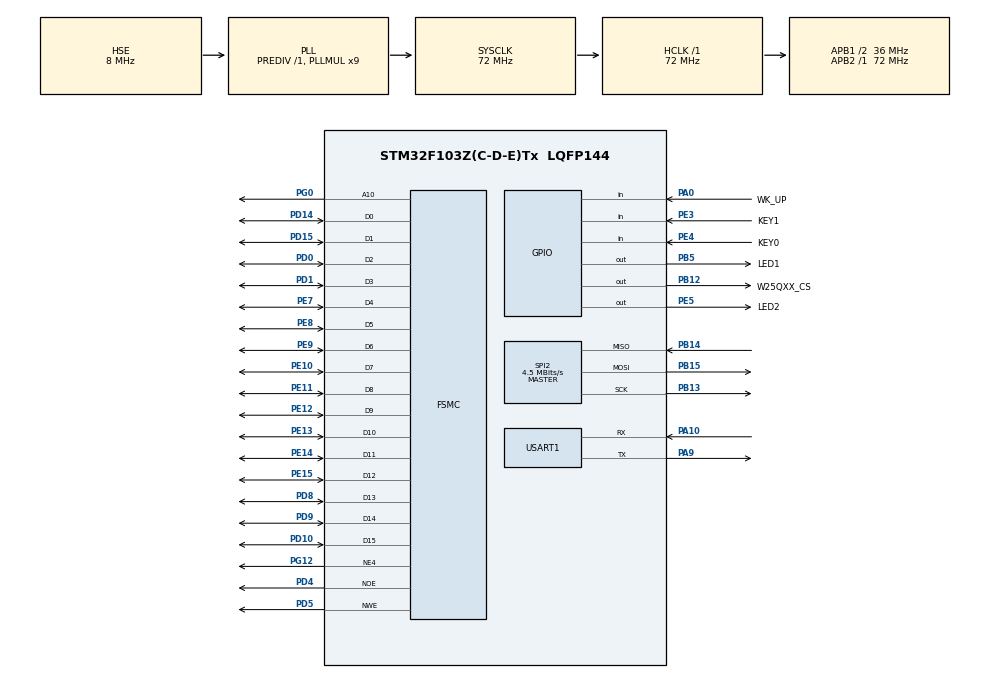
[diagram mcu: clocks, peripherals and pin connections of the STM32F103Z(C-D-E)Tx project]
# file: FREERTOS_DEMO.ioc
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FREERTOS.Tasks01=defaultTask,24,128,StartDefaultTask,Default,NULL,Dynamic,NULL,NULL
FSMC.AddressSetupTime4=6
FSMC.BusTurnAroundDuration4=0
FSMC.DataSetupTime4=26
FSMC.ExtendedAddressSetupTime4=3
FSMC.ExtendedBusTurnAroundDuration4=0
FSMC.ExtendedDataSetupTime4=6
FSMC.ExtendedMode4=FSMC_EXTENDED_MODE_ENABLE
Mcu.Family=STM32F1
Mcu.Name=STM32F103Z(C-D-E)Tx
Mcu.Package=LQFP144
NVIC.PriorityGroup=NVIC_PRIORITYGROUP_4
NVIC.RTC_Alarm_IRQn=true\:5\:0\:false\:false\:true\:true\:true\:true\:true
NVIC.RTC_IRQn=true\:5\:0\:false\:false\:true\:true\:true\:true\:true
NVIC.TIM6_IRQn=true\:15\:0\:false\:false\:true\:false\:false\:true\:true
NVIC.TimeBase=TIM6_IRQn
NVIC.TimeBaseIP=TIM6
NVIC.USART1_IRQn=true\:5\:0\:false\:false\:true\:true\:true\:true\:true
OSC_IN.Mode=HSE-External-Oscillator
OSC_IN.Signal=RCC_OSC_IN
OSC_OUT.Mode=HSE-External-Oscillator
OSC_OUT.Signal=RCC_OSC_OUT
PA0-WKUP.GPIO_Label=WK_UP
PA0-WKUP.GPIO_PuPd=GPIO_PULLDOWN
PA0-WKUP.Signal=GPIO_Input
PA10.Mode=Asynchronous
PA10.Signal=USART1_RX
PA13.Mode=Serial_Wire
PA13.Signal=SYS_JTMS-SWDIO
PA14.Mode=Serial_Wire
PA14.Signal=SYS_JTCK-SWCLK
PA9.Mode=Asynchronous
PA9.Signal=USART1_TX
PB12.GPIO_Label=W25QXX_CS
PB12.GPIO_PuPd=GPIO_PULLUP
PB12.GPIO_Speed=GPIO_SPEED_FREQ_HIGH
PB12.PinState=GPIO_PIN_SET
PB12.Signal=GPIO_Output
PB13.Mode=Full_Duplex_Master
PB13.Signal=SPI2_SCK
PB14.Mode=Full_Duplex_Master
PB14.Signal=SPI2_MISO
PB15.Mode=Full_Duplex_Master
PB15.Signal=SPI2_MOSI
PB5.GPIO_Label=LED1
PB5.GPIO_Speed=GPIO_SPEED_FREQ_HIGH
PB5.Signal=GPIO_Output
PC14-OSC32_IN.Mode=LSE-External-Oscillator
PC14-OSC32_IN.Signal=RCC_OSC32_IN
PC15-OSC32_OUT.Mode=LSE-External-Oscillator
PC15-OSC32_OUT.Signal=RCC_OSC32_OUT
PD0.Signal=FSMC_D2_DA2
PD1.Signal=FSMC_D3_DA3
PD10.Signal=FSMC_D15_DA15
PD14.Signal=FSMC_D0_DA0
PD15.Signal=FSMC_D1_DA1
PD4.Signal=FSMC_NOE
PD5.Signal=FSMC_NWE
PD8.Signal=FSMC_D13_DA13
PD9.Signal=FSMC_D14_DA14
PE10.Signal=FSMC_D7_DA7
PE11.Signal=FSMC_D8_DA8
PE12.Signal=FSMC_D9_DA9
PE13.Signal=FSMC_D10_DA10
PE14.Signal=FSMC_D11_DA11
PE15.Signal=FSMC_D12_DA12
PE3.GPIO_Label=KEY1
PE3.GPIO_PuPd=GPIO_PULLUP
PE3.Signal=GPIO_Input
PE4.GPIO_Label=KEY0
PE4.GPIO_PuPd=GPIO_PULLUP
PE4.Signal=GPIO_Input
PE5.GPIO_Label=LED2
PE5.GPIO_Speed=GPIO_SPEED_FREQ_HIGH
PE5.Signal=GPIO_Output
PE7.Signal=FSMC_D4_DA4
PE8.Signal=FSMC_D5_DA5
PE9.Signal=FSMC_D6_DA6
PG0.Signal=FSMC_A10
PG12.Mode=NorPsramChipSelect4_4
PG12.Signal=FSMC_NE4
ProjectManager.HeapSize=0x200
ProjectManager.StackSize=0x400
ProjectManager.TargetToolchain=STM32CubeIDE
RCC.AHBFreq_Value=72000000
RCC.APB1CLKDivider=RCC_HCLK_DIV2
RCC.APB1Freq_Value=36000000
RCC.APB1TimFreq_Value=72000000
RCC.APB2Freq_Value=72000000
RCC.APB2TimFreq_Value=72000000
RCC.HCLKFreq_Value=72000000
RCC.PLLMUL=RCC_PLL_MUL9
RCC.PLLSourceVirtual=RCC_PLLSOURCE_HSE
RCC.RTCClockSelection=RCC_RTCCLKSOURCE_LSE
RCC.SYSCLKFreq_VALUE=72000000
RCC.SYSCLKSource=RCC_SYSCLKSOURCE_PLLCLK
RCC.USBFreq_Value=72000000
RTC.AutoPrediv=RTC_AUTO_1_SECOND
RTC.Format=RTC_FORMAT_BIN
SH.FSMC_A10.0=FSMC_A10,A10_4
SH.FSMC_D0_DA0.0=FSMC_D0,16b-d4
SH.FSMC_D10_DA10.0=FSMC_D10,16b-d4
SH.FSMC_D11_DA11.0=FSMC_D11,16b-d4
SH.FSMC_D12_DA12.0=FSMC_D12,16b-d4
SH.FSMC_D13_DA13.0=FSMC_D13,16b-d4
SH.FSMC_D14_DA14.0=FSMC_D14,16b-d4
SH.FSMC_D15_DA15.0=FSMC_D15,16b-d4
SH.FSMC_D1_DA1.0=FSMC_D1,16b-d4
SH.FSMC_D2_DA2.0=FSMC_D2,16b-d4
SH.FSMC_D3_DA3.0=FSMC_D3,16b-d4
SH.FSMC_D4_DA4.0=FSMC_D4,16b-d4
SH.FSMC_D5_DA5.0=FSMC_D5,16b-d4
SH.FSMC_D6_DA6.0=FSMC_D6,16b-d4
SH.FSMC_D7_DA7.0=FSMC_D7,16b-d4
SH.FSMC_D8_DA8.0=FSMC_D8,16b-d4
SH.FSMC_D9_DA9.0=FSMC_D9,16b-d4
SH.FSMC_NOE.0=FSMC_NOE,Lcd4
SH.FSMC_NWE.0=FSMC_NWE,Lcd4
SPI2.BaudRatePrescaler=SPI_BAUDRATEPRESCALER_8
SPI2.CLKPhase=SPI_PHASE_2EDGE
SPI2.CLKPolarity=SPI_POLARITY_HIGH
SPI2.CRCCalculation=SPI_CRCCALCULATION_DISABLE
SPI2.CalculateBaudRate=4.5 MBits/s
SPI2.Direction=SPI_DIRECTION_2LINES
SPI2.Mode=SPI_MODE_MASTER
SPI2.VirtualType=VM_MASTER
USART1.VirtualMode=VM_ASYNC
VP_FREERTOS_VS_CMSIS_V2.Mode=CMSIS_V2
VP_RTC_VS_RTC_Activate.Mode=RTC_Enabled
VP_SYS_VS_tim6.Mode=TIM6
board=custom

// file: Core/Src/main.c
/* USER CODE BEGIN Header */
/**
  ******************************************************************************
  * @file           : main.c
  * @brief          : Main program body
  ******************************************************************************
  * @attention
  *
  * Copyright (c) 2023 STMicroelectronics.
  * All rights reserved.
  *
  * This software is licensed under terms that can be found in the LICENSE file
  * in the root directory of this software component.
  * If no LICENSE file comes with this software, it is provided AS-IS.
  *
  ******************************************************************************
  */
/* USER CODE END Header */
#include "main.h"
#include "cmsis_os.h"
#include "rtc.h"
#include "spi.h"
#include "usart.h"
#include "gpio.h"
#include "fsmc.h"

/* USER CODE BEGIN Includes */
#include "stdio.h"
#include "lcd.h"
#include "w25qxx.h"
#include <string.h>
/* USER CODE END Includes */

void SystemClock_Config(void);
void MX_FREERTOS_Init(void);

int main(void)
{
  /* USER CODE BEGIN 1 */
	int x = 0,FLASH_SIZE,id;
	u8 lcd_id[12],datatemp[20];						//存放LCD ID字符�????????????
  /* USER CODE END 1 */

  /* MCU Configuration--------------------------------------------------------*/

  /* Reset of all peripherals, Initializes the Flash interface and the Systick. */
  HAL_Init();

  /* Configure the system clock */
  SystemClock_Config();

  /* Initialize all configured peripherals */
  MX_GPIO_Init();
  MX_USART1_UART_Init();
  MX_FSMC_Init();
  MX_SPI2_Init();
  MX_RTC_Init();
  /* USER CODE BEGIN 2 */
	LCD_Init();
	POINT_COLOR=RED;     				//画笔颜色：红�????????????
	sprintf((char*)lcd_id,"LCD ID:%04X",lcddev.id);//将LCD ID打印到lcd_id数组�????????????
	LCD_Clear(WHITE);
	POINT_COLOR=RED;
	LCD_ShowString(30,40,210,24,24,"WarShip STM32 ^_^");
	//LCD_ShowString(30,70,200,16,16,"TFTLCD TEST");
	LCD_ShowString(30,70,200,16,16,"ATOM@ALIENTEK");
	LCD_ShowString(30,90,200,16,16,lcd_id);		//显示LCD ID
	//LCD_ShowString(30,110,200,12,12,"2017/5/27");
	//LCD_ShowString(30,110,200,16,16,"KEY1:Write KEY0:Read  WK_UP:ADD");	//显示提示信息
	LCD_ShowString(30,110,200,12,12,"RTC TEST");

	////2.设置时间
	//rtc_set_time(2023, 7, 12, 18, 15, 0);
	RTC_TimeTypeDef nTime;
	RTC_DateTypeDef nData;
//	nTime.Hours = 18;
//	nTime.Minutes = 26;
//	nTime.Seconds = 0;
//	nData.Year = 23;
//	nData.Month = 7;
//	nData.Date = 12;
//	HAL_RTC_SetTime(&hrtc,&nTime,RTC_FORMAT_BIN);
//	HAL_RTC_SetDate(&hrtc, &nData, RTC_FORMAT_BIN);

	//rtc_get_time();
	HAL_RTC_GetTime(&hrtc,&nTime,RTC_FORMAT_BIN);
	HAL_RTC_GetDate(&hrtc, &nData, RTC_FORMAT_BIN);

	sprintf((char*)datatemp,"%02d h,%02d m,%02d s",nTime.Hours,nTime.Minutes,nTime.Seconds);
	//sprintf((char*)datatemp,"%02d h,%02d m,%02d s",calendar.hour,calendar.min,calendar.sec);
	LCD_ShowString(30,150,200,12,12,datatemp);
	memset(datatemp,'\0',sizeof(datatemp));
	sprintf((char*)datatemp,"%04d y,%02d m,%02d d",nData.Year + 2000,nData.Month,nData.Date);
	//sprintf((char*)datatemp,"%04d y,%02d m,%02d d",calendar.year,calendar.month,calendar.date);
	LCD_ShowString(30,130,200,12,12,datatemp);
	//__HAL_RTC_ALARM_ENABLE_IT(&hrtc, RTC_IT_SEC);   /* 允许秒中�??? */

	////4.闹钟
//	if(calendar.sec < 50)
//	{
//		calendar.sec += 10;
//	}
//	else
//	{
//		calendar.min += 1;
//		calendar.sec = 0;
//	}

	RTC_AlarmTypeDef aTime;

	aTime.Alarm = 0;
	aTime.AlarmTime.Hours = nTime.Hours;
	aTime.AlarmTime.Minutes = nTime.Minutes;
	if(calendar.sec < 50)
	{
		aTime.AlarmTime.Seconds = nTime.Seconds + 10;
	}
	else
	{
		aTime.AlarmTime.Minutes += 1;
		aTime.AlarmTime.Seconds = 0;
	}
	HAL_RTC_SetAlarm_IT(&hrtc,&aTime,RTC_FORMAT_BIN);

	//rtc_set_alarm(calendar.year, calendar.month, calendar.date, calendar.hour, calendar.min, calendar.sec);

  /* USER CODE END 2 */

  /* Init scheduler */
  osKernelInitialize();  /* Call init function for freertos objects (in freertos.c) */
  MX_FREERTOS_Init();

  /* Start scheduler */
  osKernelStart();
  /* We should never get here as control is now taken by the scheduler */
  /* Infinite loop */
  /* USER CODE BEGIN WHILE */
	while (1)
	{
		////1.获取时间
//		rtc_get_time();
//		sprintf((char*)datatemp,"%04d y,%02d m,%02d d",calendar.year,calendar.month,calendar.date);
//		LCD_ShowString(30,130,200,12,12,datatemp);
//		memset(datatemp,'\0',sizeof(datatemp));
//		sprintf((char*)datatemp,"%02d h,%02d m,%02d s",calendar.hour,calendar.min,calendar.sec);
//		LCD_ShowString(30,150,200,12,12,datatemp);
		//printf("test\n\r");
		osDelay(500);
		HAL_GPIO_TogglePin(LED1_GPIO_Port,LED1_Pin);
    /* USER CODE END WHILE */

  }
}

void SystemClock_Config(void)
{
  RCC_OscInitTypeDef RCC_OscInitStruct = {0};
  RCC_ClkInitTypeDef RCC_ClkInitStruct = {0};
  RCC_PeriphCLKInitTypeDef PeriphClkInit = {0};

  /** Initializes the RCC Oscillators according to the specified parameters
  * in the RCC_OscInitTypeDef structure.
  */
  RCC_OscInitStruct.OscillatorType = RCC_OSCILLATORTYPE_HSE|RCC_OSCILLATORTYPE_LSE;
  RCC_OscInitStruct.HSEState = RCC_HSE_ON;
  RCC_OscInitStruct.HSEPredivValue = RCC_HSE_PREDIV_DIV1;
  RCC_OscInitStruct.LSEState = RCC_LSE_ON;
  RCC_OscInitStruct.HSIState = RCC_HSI_ON;
  RCC_OscInitStruct.PLL.PLLState = RCC_PLL_ON;
  RCC_OscInitStruct.PLL.PLLSource = RCC_PLLSOURCE_HSE;
  RCC_OscInitStruct.PLL.PLLMUL = RCC_PLL_MUL9;
  if (HAL_RCC_OscConfig(&RCC_OscInitStruct) != HAL_OK)
  {
    Error_Handler();
  }

  /** Initializes the CPU, AHB and APB buses clocks
  */
  RCC_ClkInitStruct.ClockType = RCC_CLOCKTYPE_HCLK|RCC_CLOCKTYPE_SYSCLK
                              |RCC_CLOCKTYPE_PCLK1|RCC_CLOCKTYPE_PCLK2;
  RCC_ClkInitStruct.SYSCLKSource = RCC_SYSCLKSOURCE_PLLCLK;
  RCC_ClkInitStruct.AHBCLKDivider = RCC_SYSCLK_DIV1;
  RCC_ClkInitStruct.APB1CLKDivider = RCC_HCLK_DIV2;
  RCC_ClkInitStruct.APB2CLKDivider = RCC_HCLK_DIV1;

  if (HAL_RCC_ClockConfig(&RCC_ClkInitStruct, FLASH_LATENCY_2) != HAL_OK)
  {
    Error_Handler();
  }
  PeriphClkInit.PeriphClockSelection = RCC_PERIPHCLK_RTC;
  PeriphClkInit.RTCClockSelection = RCC_RTCCLKSOURCE_LSE;
  if (HAL_RCCEx_PeriphCLKConfig(&PeriphClkInit) != HAL_OK)
  {
    Error_Handler();
  }
}

/* USER CODE BEGIN 4 */
void delay_us(uint32_t udelay)
{
  uint32_t startval,tickn,delays,wait;

  startval = SysTick->VAL;
  tickn = HAL_GetTick();
  //sysc = 72000;  //SystemCoreClock / (1000U / uwTickFreq);
  delays =udelay * 72; //sysc / 1000 * udelay;
  if(delays > startval)
    {
      while(HAL_GetTick() == tickn)
        {

        }
      wait = 72000 + startval - delays;
      while(wait < SysTick->VAL)
        {

        }
    }
  else
    {
      wait = startval - delays;
      while(wait < SysTick->VAL && HAL_GetTick() == tickn)
        {

        }
    }
}

void delay_ms(uint32_t udelay)
{
	HAL_Delay(udelay);
	//osDelay(udelay);
}
/* USER CODE END 4 */

void HAL_TIM_PeriodElapsedCallback(TIM_HandleTypeDef *htim)
{
  if (htim->Instance == TIM6) {
    HAL_IncTick();
  }
}

void Error_Handler(void)
{
  __disable_irq();
  while (1)
  {
  }
}

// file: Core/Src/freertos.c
/* USER CODE BEGIN Header */
/**
  ******************************************************************************
  * File Name          : freertos.c
  * Description        : Code for freertos applications
  ******************************************************************************
  * @attention
  *
  * Copyright (c) 2023 STMicroelectronics.
  * All rights reserved.
  *
  * This software is licensed under terms that can be found in the LICENSE file
  * in the root directory of this software component.
  * If no LICENSE file comes with this software, it is provided AS-IS.
  *
  ******************************************************************************
  */
/* USER CODE END Header */

#include "FreeRTOS.h"
#include "task.h"
#include "main.h"
#include "cmsis_os.h"

/* Definitions for defaultTask */
osThreadId_t defaultTaskHandle;
const osThreadAttr_t defaultTask_attributes = {
  .name = "defaultTask",
  .stack_size = 128 * 4,
  .priority = (osPriority_t) osPriorityNormal,
};

void StartDefaultTask(void *argument);

void MX_FREERTOS_Init(void); /* (MISRA C 2004 rule 8.1) */

void MX_FREERTOS_Init(void) {

  /* Create the thread(s) */
  /* creation of defaultTask */
  defaultTaskHandle = osThreadNew(StartDefaultTask, NULL, &defaultTask_attributes);

}

void StartDefaultTask(void *argument)
{
  /* USER CODE BEGIN StartDefaultTask */
  /* Infinite loop */
  for(;;)
  {
	  HAL_GPIO_TogglePin(LED1_GPIO_Port,LED1_Pin);
	  osDelay(500);
  }
  /* USER CODE END StartDefaultTask */
}
